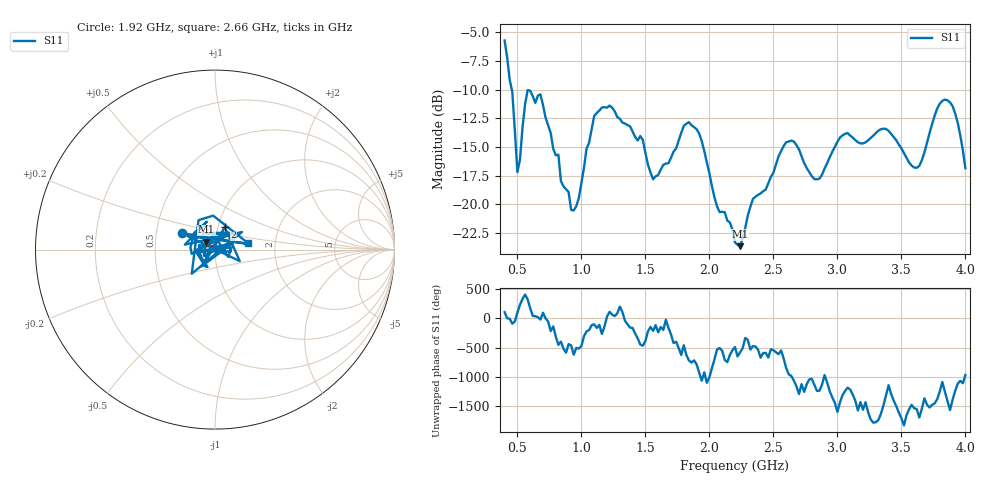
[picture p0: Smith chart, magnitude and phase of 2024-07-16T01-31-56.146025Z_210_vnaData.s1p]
!Created with skrf (http://scikit-rf.org).
# Hz S RI R 50.0
!freq ReS11 ImS11
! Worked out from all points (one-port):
!   181 points, 400 MHz to 4 GHz, reference 50 ohm
!   lowest |S11| = -23.6 dB at 2.24 GHz (marker M1), VSWR 1.14, Z = 45.2 + j4.05 ohm
!   |S11| at or under -10 dB: 456.2 MHz to end of sweep
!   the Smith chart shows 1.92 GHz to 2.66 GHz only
!   S11 on the Smith chart (normalised r, x): 1.92 GHz: 0.68, +0.13; 2 GHz: 1.08, +0.28; 2.66 GHz: 1.45, +0.11
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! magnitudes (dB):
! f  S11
! 400 MHz  -5.7
! 460 MHz  -10.2
! 500 MHz  -17.2
! 560 MHz  -11.3
! 600 MHz  -10.1
! 680 MHz  -10.4
! 860 MHz  -18.4
! 940 MHz  -20.5
! 1.1 GHz  -12.3
! 1.3 GHz  -12.5
! 1.48 GHz  -14.4
! 1.56 GHz  -17.8
! 1.76 GHz  -14.4
! 1.84 GHz  -12.8
! 1.92 GHz  -13.8
! 2 GHz  -17.3
! 2.2 GHz  -23.3
! 2.24 GHz  -23.6
! 2.34 GHz  -19.5
! 2.66 GHz  -14.5
! 2.84 GHz  -17.8
! 3.1 GHz  -14.0
! 3.38 GHz  -13.4
! 3.56 GHz  -16.4
! 3.64 GHz  -16.6
! 3.84 GHz  -10.9
! 3.92 GHz  -12.1
! 4 GHz  -16.8
